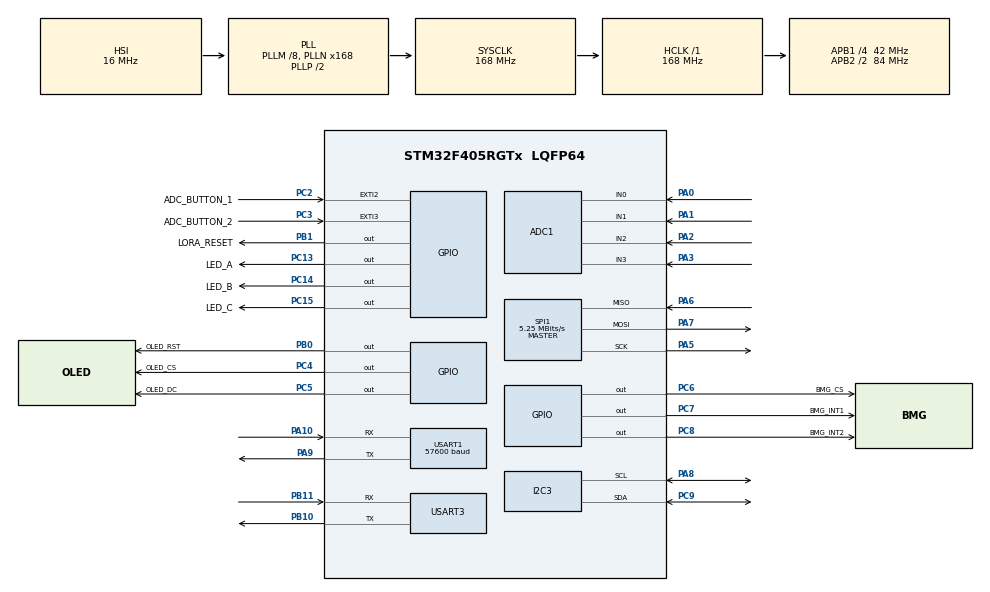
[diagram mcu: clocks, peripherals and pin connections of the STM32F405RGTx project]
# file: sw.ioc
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ADC1.Channel-0\#ChannelRegularConversion=ADC_CHANNEL_0
ADC1.Channel-1\#ChannelRegularConversion=ADC_CHANNEL_1
ADC1.Channel-2\#ChannelRegularConversion=ADC_CHANNEL_2
ADC1.Channel-3\#ChannelRegularConversion=ADC_CHANNEL_3
ADC1.ContinuousConvMode=ENABLE
ADC1.DMAContinuousRequests=ENABLE
ADC1.NbrOfConversion=4
ADC1.NbrOfConversionFlag=1
ADC1.Rank-0\#ChannelRegularConversion=1
ADC1.Rank-1\#ChannelRegularConversion=2
ADC1.Rank-2\#ChannelRegularConversion=3
ADC1.Rank-3\#ChannelRegularConversion=4
ADC1.SamplingTime-0\#ChannelRegularConversion=ADC_SAMPLETIME_56CYCLES
ADC1.SamplingTime-1\#ChannelRegularConversion=ADC_SAMPLETIME_56CYCLES
ADC1.SamplingTime-2\#ChannelRegularConversion=ADC_SAMPLETIME_56CYCLES
ADC1.SamplingTime-3\#ChannelRegularConversion=ADC_SAMPLETIME_56CYCLES
ADC1.ScanConvMode=ENABLE
ADC1.master=1
Dma.ADC1.0.Direction=DMA_PERIPH_TO_MEMORY
Dma.ADC1.0.FIFOMode=DMA_FIFOMODE_DISABLE
Dma.ADC1.0.Instance=DMA2_Stream0
Dma.ADC1.0.MemDataAlignment=DMA_MDATAALIGN_WORD
Dma.ADC1.0.MemInc=DMA_MINC_ENABLE
Dma.ADC1.0.Mode=DMA_CIRCULAR
Dma.ADC1.0.PeriphDataAlignment=DMA_PDATAALIGN_WORD
Dma.ADC1.0.PeriphInc=DMA_PINC_DISABLE
Dma.ADC1.0.Priority=DMA_PRIORITY_LOW
Dma.Request0=ADC1
Mcu.Family=STM32F4
Mcu.Name=STM32F405RGTx
Mcu.Package=LQFP64
NVIC.DMA2_Stream0_IRQn=true\:4\:0\:true\:true\:true\:2\:false\:true
NVIC.EXTI2_IRQn=true\:4\:0\:true\:false\:true\:true\:true
NVIC.EXTI3_IRQn=true\:4\:0\:true\:false\:true\:true\:true
NVIC.PriorityGroup=NVIC_PRIORITYGROUP_4
NVIC.TIM6_DAC_IRQn=true\:3\:0\:true\:true\:true\:4\:true\:true
NVIC.USART1_IRQn=true\:1\:0\:true\:true\:true\:1\:true\:true
NVIC.USART3_IRQn=true\:2\:0\:true\:true\:true\:3\:true\:true
PA0-WKUP.Signal=ADCx_IN0
PA1.Signal=ADCx_IN1
PA10.Mode=Asynchronous
PA10.Signal=USART1_RX
PA13.Mode=Serial_Wire
PA13.Signal=SYS_JTMS-SWDIO
PA14.Mode=Serial_Wire
PA14.Signal=SYS_JTCK-SWCLK
PA2.Signal=ADCx_IN2
PA3.Signal=ADCx_IN3
PA5.Mode=Full_Duplex_Master
PA5.Signal=SPI1_SCK
PA6.Mode=Full_Duplex_Master
PA6.Signal=SPI1_MISO
PA7.Mode=Full_Duplex_Master
PA7.Signal=SPI1_MOSI
PA8.Mode=I2C
PA8.Signal=I2C3_SCL
PA9.Mode=Asynchronous
PA9.Signal=USART1_TX
PB0.GPIO_Label=OLED_RST
PB0.GPIO_Speed=GPIO_SPEED_FREQ_MEDIUM
PB0.PinState=GPIO_PIN_SET
PB0.Signal=GPIO_Output
PB1.GPIO_Label=LORA_RESET
PB1.GPIO_ModeDefaultOutputPP=GPIO_MODE_OUTPUT_OD
PB1.Signal=GPIO_Output
PB10.Mode=Asynchronous
PB10.Signal=USART3_TX
PB11.Mode=Asynchronous
PB11.Signal=USART3_RX
PC13-ANTI_TAMP.GPIO_Label=LED_A
PC13-ANTI_TAMP.Signal=GPIO_Output
PC14-OSC32_IN.GPIO_Label=LED_B
PC14-OSC32_IN.Signal=GPIO_Output
PC15-OSC32_OUT.GPIO_Label=LED_C
PC15-OSC32_OUT.Signal=GPIO_Output
PC2.GPIO_Label=ADC_BUTTON_1
PC2.GPIO_ModeDefaultEXTI=GPIO_MODE_IT_FALLING
PC2.Signal=GPXTI2
PC3.GPIO_Label=ADC_BUTTON_2
PC3.GPIO_ModeDefaultEXTI=GPIO_MODE_IT_FALLING
PC3.Signal=GPXTI3
PC4.GPIO_Label=OLED_CS
PC4.GPIO_Speed=GPIO_SPEED_FREQ_MEDIUM
PC4.PinState=GPIO_PIN_SET
PC4.Signal=GPIO_Output
PC5.GPIO_Label=OLED_DC
PC5.GPIO_Speed=GPIO_SPEED_FREQ_MEDIUM
PC5.PinState=GPIO_PIN_SET
PC5.Signal=GPIO_Output
PC6.GPIO_Label=BMG_CS
PC6.GPIO_ModeDefaultOutputPP=GPIO_MODE_OUTPUT_PP
PC6.GPIO_PuPd=GPIO_NOPULL
PC6.PinState=GPIO_PIN_RESET
PC6.Signal=GPIO_Output
PC7.GPIO_Label=BMG_INT1
PC7.Signal=GPIO_Output
PC8.GPIO_Label=BMG_INT2
PC8.Signal=GPIO_Output
PC9.Mode=I2C
PC9.Signal=I2C3_SDA
ProjectManager.HeapSize=0x200
ProjectManager.StackSize=0x400
ProjectManager.TargetToolchain=SW4STM32
RCC.48MHZClocksFreq_Value=84000000
RCC.AHBFreq_Value=168000000
RCC.APB1CLKDivider=RCC_HCLK_DIV4
RCC.APB1Freq_Value=42000000
RCC.APB1TimFreq_Value=84000000
RCC.APB2CLKDivider=RCC_HCLK_DIV2
RCC.APB2Freq_Value=84000000
RCC.APB2TimFreq_Value=168000000
RCC.CortexFreq_Value=168000000
RCC.HCLKFreq_Value=168000000
RCC.HSE_VALUE=25000000
RCC.HSI_VALUE=16000000
RCC.LSE_VALUE=32768
RCC.PLLM=8
RCC.PLLN=168
RCC.SYSCLKFreq_VALUE=168000000
RCC.SYSCLKSource=RCC_SYSCLKSOURCE_PLLCLK
RCC.VCOOutputFreq_Value=336000000
SH.ADCx_IN0.0=ADC1_IN0,IN0
SH.ADCx_IN1.0=ADC1_IN1,IN1
SH.ADCx_IN2.0=ADC1_IN2,IN2
SH.ADCx_IN3.0=ADC1_IN3,IN3
SPI1.BaudRatePrescaler=SPI_BAUDRATEPRESCALER_16
SPI1.CalculateBaudRate=5.25 MBits/s
SPI1.Direction=SPI_DIRECTION_2LINES
SPI1.Mode=SPI_MODE_MASTER
SPI1.VirtualType=VM_MASTER
TIM6.AutoReloadPreload=TIM_AUTORELOAD_PRELOAD_ENABLE
TIM6.Period=4200
TIM6.Prescaler=10000
USART1.BaudRate=57600
USART1.VirtualMode=VM_ASYNC
USART3.VirtualMode=VM_ASYNC
VP_TIM6_VS_ClockSourceINT.Mode=Enable_Timer
board=custom

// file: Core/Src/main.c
/* USER CODE BEGIN Header */
/**
  ******************************************************************************
  * @file           : main.c
  * @brief          : Main program body
  ******************************************************************************
  * @attention
  *
  * <h2><center>&copy; Copyright (c) 2021 STMicroelectronics.
  * All rights reserved.</center></h2>
  *
  * This software component is licensed by ST under BSD 3-Clause license,
  * the "License"; You may not use this file except in compliance with the
  * License. You may obtain a copy of the License at:
  *                        opensource.org/licenses/BSD-3-Clause
  *
  ******************************************************************************
  */
/* USER CODE END Header */
#include "main.h"

/* USER CODE BEGIN Includes */
#include "COM.h"
#include "CMDHandler.h"
#include "lora.h"
#include "ssd1351.h"
#include "gfx.h"
#include "screen.h"
#include "joystick.h"
/* USER CODE END Includes */

/* USER CODE BEGIN PD */
extern Colors colors;

/* USER CODE END PD */

ADC_HandleTypeDef hadc1;
DMA_HandleTypeDef hdma_adc1;

I2C_HandleTypeDef hi2c3;

SPI_HandleTypeDef hspi1;

TIM_HandleTypeDef htim6;

UART_HandleTypeDef huart1;
UART_HandleTypeDef huart3;

/* USER CODE BEGIN PV */
char rx_lora_buff[1];
char rx_com_buff[1];
uint32_t ADCvalues[4];

char s_buf[50];

//extern Colors colors;
/* USER CODE END PV */

void SystemClock_Config(void);
static void MX_GPIO_Init(void);
static void MX_DMA_Init(void);
static void MX_ADC1_Init(void);
static void MX_SPI1_Init(void);
static void MX_USART1_UART_Init(void);
static void MX_USART3_UART_Init(void);
static void MX_I2C3_Init(void);
static void MX_TIM6_Init(void);
static void MX_NVIC_Init(void);
/* USER CODE BEGIN PFP */
void pin_cs(uint8_t pinstate);
void pin_dc(uint8_t pinstate);
void pin_rs(uint8_t pinstate);
void transmit_data(uint8_t *data, uint32_t len);
void user_delay_ms(uint32_t period);

/* USER CODE END PFP */

int main(void)
{

  /* MCU Configuration--------------------------------------------------------*/

  /* Reset of all peripherals, Initializes the Flash interface and the Systick. */
  HAL_Init();

  /* Configure the system clock */
  SystemClock_Config();

  /* Initialize all configured peripherals */
  MX_GPIO_Init();
  MX_DMA_Init();
  MX_ADC1_Init();
  MX_SPI1_Init();
  MX_USART1_UART_Init();
  MX_USART3_UART_Init();
  MX_I2C3_Init();
  MX_TIM6_Init();

  /* Initialize interrupts */
  MX_NVIC_Init();
  /* USER CODE BEGIN 2 */
  //SCREEN
  s_ssd1351 fnptrs_main;

  	fnptrs_main.pin_cs = pin_cs;
  	fnptrs_main.pin_rs = pin_rs;
  	fnptrs_main.pin_dc = pin_dc;
  	fnptrs_main.transmit_data = transmit_data;
  	fnptrs_main.delay = user_delay_ms;

  //INTERRUPTS
  HAL_UART_Receive_IT(&huart1,(uint8_t*)rx_lora_buff,1);
  HAL_UART_Receive_IT(&huart3,(uint8_t*)rx_com_buff,1);
  HAL_ADC_Start_DMA(&hadc1,(uint32_t *)ADCvalues, 4);
  //HAL_ADC_Start(&hadc1);

  //Turn "Running" LED on
  HAL_GPIO_WritePin(LED_A_GPIO_Port,LED_A_Pin,GPIO_PIN_SET);

  //Display Init
  init_oled(1,1, &fnptrs_main);
  screen_connecting();

  //LORA Reset
  HAL_GPIO_WritePin(LORA_RESET_GPIO_Port,LORA_RESET_Pin,GPIO_PIN_SET);
  HAL_Delay(10);
  HAL_GPIO_WritePin(LORA_RESET_GPIO_Port,LORA_RESET_Pin,GPIO_PIN_RESET);
  HAL_Delay(10);
  HAL_GPIO_WritePin(LORA_RESET_GPIO_Port,LORA_RESET_Pin,GPIO_PIN_SET);
  HAL_Delay(1000);

  //Init LORA
  if(!lora_init())
  {
	//if failed turn LED_B on
	HAL_GPIO_WritePin(LED_C_GPIO_Port,LED_C_Pin,GPIO_PIN_SET);
	while(1);
  }

  HAL_Delay(200);
  //SET "running" LED on RN2483 on
  LORA_TX("sys set pindig GPIO11 1\r\n");

  HAL_Delay(100);

  screen_init();

  //LORA_TX("radio set wdt 0\r\n");
  //HAL_Delay(100);
  while(joystick_PosCheck(0,-65,2) || joystick_PosCheck(1,65,1) || joystick_PosCheck(2,-95,2))
  {
	  Joystick(ADCvalues, 0);
  }

  //screen_connecting();
  screen_menu(0,0);

  while(joystick_PosCheck(0,0,0) || joystick_PosCheck(1,0,0) || joystick_PosCheck(2,0,0) || joystick_PosCheck(3,0,0))
  {
	  Joystick(ADCvalues, 0);
  }

  HAL_TIM_Base_Start_IT(&htim6);

  /* USER CODE END 2 */

  /* Infinite loop */
  /* USER CODE BEGIN WHILE */
  while (1)
  {
	  //COM Command Handler, a can be ignored

	  LORA_HANDLER(0,"a");
	  //lora_OFF();
	  Joystick(ADCvalues, 1);
	  HAL_Delay(500);
	  //HAL_Delay(100);
    /* USER CODE END WHILE */

  }
}

void SystemClock_Config(void)
{
  RCC_OscInitTypeDef RCC_OscInitStruct = {0};
  RCC_ClkInitTypeDef RCC_ClkInitStruct = {0};

  /** Configure the main internal regulator output voltage
  */
  __HAL_RCC_PWR_CLK_ENABLE();
  __HAL_PWR_VOLTAGESCALING_CONFIG(PWR_REGULATOR_VOLTAGE_SCALE1);
  /** Initializes the RCC Oscillators according to the specified parameters
  * in the RCC_OscInitTypeDef structure.
  */
  RCC_OscInitStruct.OscillatorType = RCC_OSCILLATORTYPE_HSI;
  RCC_OscInitStruct.HSIState = RCC_HSI_ON;
  RCC_OscInitStruct.HSICalibrationValue = RCC_HSICALIBRATION_DEFAULT;
  RCC_OscInitStruct.PLL.PLLState = RCC_PLL_ON;
  RCC_OscInitStruct.PLL.PLLSource = RCC_PLLSOURCE_HSI;
  RCC_OscInitStruct.PLL.PLLM = 8;
  RCC_OscInitStruct.PLL.PLLN = 168;
  RCC_OscInitStruct.PLL.PLLP = RCC_PLLP_DIV2;
  RCC_OscInitStruct.PLL.PLLQ = 4;
  if (HAL_RCC_OscConfig(&RCC_OscInitStruct) != HAL_OK)
  {
    Error_Handler();
  }
  /** Initializes the CPU, AHB and APB buses clocks
  */
  RCC_ClkInitStruct.ClockType = RCC_CLOCKTYPE_HCLK|RCC_CLOCKTYPE_SYSCLK
                              |RCC_CLOCKTYPE_PCLK1|RCC_CLOCKTYPE_PCLK2;
  RCC_ClkInitStruct.SYSCLKSource = RCC_SYSCLKSOURCE_PLLCLK;
  RCC_ClkInitStruct.AHBCLKDivider = RCC_SYSCLK_DIV1;
  RCC_ClkInitStruct.APB1CLKDivider = RCC_HCLK_DIV4;
  RCC_ClkInitStruct.APB2CLKDivider = RCC_HCLK_DIV2;

  if (HAL_RCC_ClockConfig(&RCC_ClkInitStruct, FLASH_LATENCY_5) != HAL_OK)
  {
    Error_Handler();
  }
}

/**
  * @brief NVIC Configuration.
  * @retval None
  */
static void MX_NVIC_Init(void)
{
  /* USART1_IRQn interrupt configuration */
  HAL_NVIC_SetPriority(USART1_IRQn, 1, 0);
  HAL_NVIC_EnableIRQ(USART1_IRQn);
  /* DMA2_Stream0_IRQn interrupt configuration */
  HAL_NVIC_SetPriority(DMA2_Stream0_IRQn, 4, 0);
  HAL_NVIC_EnableIRQ(DMA2_Stream0_IRQn);
  /* USART3_IRQn interrupt configuration */
  HAL_NVIC_SetPriority(USART3_IRQn, 2, 0);
  HAL_NVIC_EnableIRQ(USART3_IRQn);
  /* TIM6_DAC_IRQn interrupt configuration */
  HAL_NVIC_SetPriority(TIM6_DAC_IRQn, 3, 0);
  HAL_NVIC_EnableIRQ(TIM6_DAC_IRQn);
}

static void MX_ADC1_Init(void)
{

  ADC_ChannelConfTypeDef sConfig = {0};

  /** Configure the global features of the ADC (Clock, Resolution, Data Alignment and number of conversion)
  */
  hadc1.Instance = ADC1;
  hadc1.Init.ClockPrescaler = ADC_CLOCK_SYNC_PCLK_DIV4;
  hadc1.Init.Resolution = ADC_RESOLUTION_12B;
  hadc1.Init.ScanConvMode = ENABLE;
  hadc1.Init.ContinuousConvMode = ENABLE;
  hadc1.Init.DiscontinuousConvMode = DISABLE;
  hadc1.Init.ExternalTrigConvEdge = ADC_EXTERNALTRIGCONVEDGE_NONE;
  hadc1.Init.ExternalTrigConv = ADC_SOFTWARE_START;
  hadc1.Init.DataAlign = ADC_DATAALIGN_RIGHT;
  hadc1.Init.NbrOfConversion = 4;
  hadc1.Init.DMAContinuousRequests = ENABLE;
  hadc1.Init.EOCSelection = ADC_EOC_SINGLE_CONV;
  if (HAL_ADC_Init(&hadc1) != HAL_OK)
  {
    Error_Handler();
  }
  /** Configure for the selected ADC regular channel its corresponding rank in the sequencer and its sample time.
  */
  sConfig.Channel = ADC_CHANNEL_0;
  sConfig.Rank = 1;
  sConfig.SamplingTime = ADC_SAMPLETIME_56CYCLES;
  if (HAL_ADC_ConfigChannel(&hadc1, &sConfig) != HAL_OK)
  {
    Error_Handler();
  }
  /** Configure for the selected ADC regular channel its corresponding rank in the sequencer and its sample time.
  */
  sConfig.Channel = ADC_CHANNEL_1;
  sConfig.Rank = 2;
  if (HAL_ADC_ConfigChannel(&hadc1, &sConfig) != HAL_OK)
  {
    Error_Handler();
  }
  /** Configure for the selected ADC regular channel its corresponding rank in the sequencer and its sample time.
  */
  sConfig.Channel = ADC_CHANNEL_2;
  sConfig.Rank = 3;
  if (HAL_ADC_ConfigChannel(&hadc1, &sConfig) != HAL_OK)
  {
    Error_Handler();
  }
  /** Configure for the selected ADC regular channel its corresponding rank in the sequencer and its sample time.
  */
  sConfig.Channel = ADC_CHANNEL_3;
  sConfig.Rank = 4;
  if (HAL_ADC_ConfigChannel(&hadc1, &sConfig) != HAL_OK)
  {
    Error_Handler();
  }

}

static void MX_I2C3_Init(void)
{

  hi2c3.Instance = I2C3;
  hi2c3.Init.ClockSpeed = 100000;
  hi2c3.Init.DutyCycle = I2C_DUTYCYCLE_2;
  hi2c3.Init.OwnAddress1 = 0;
  hi2c3.Init.AddressingMode = I2C_ADDRESSINGMODE_7BIT;
  hi2c3.Init.DualAddressMode = I2C_DUALADDRESS_DISABLE;
  hi2c3.Init.OwnAddress2 = 0;
  hi2c3.Init.GeneralCallMode = I2C_GENERALCALL_DISABLE;
  hi2c3.Init.NoStretchMode = I2C_NOSTRETCH_DISABLE;
  if (HAL_I2C_Init(&hi2c3) != HAL_OK)
  {
    Error_Handler();
  }

}

static void MX_SPI1_Init(void)
{

  /* SPI1 parameter configuration*/
  hspi1.Instance = SPI1;
  hspi1.Init.Mode = SPI_MODE_MASTER;
  hspi1.Init.Direction = SPI_DIRECTION_2LINES;
  hspi1.Init.DataSize = SPI_DATASIZE_8BIT;
  hspi1.Init.CLKPolarity = SPI_POLARITY_LOW;
  hspi1.Init.CLKPhase = SPI_PHASE_1EDGE;
  hspi1.Init.NSS = SPI_NSS_SOFT;
  hspi1.Init.BaudRatePrescaler = SPI_BAUDRATEPRESCALER_16;
  hspi1.Init.FirstBit = SPI_FIRSTBIT_MSB;
  hspi1.Init.TIMode = SPI_TIMODE_DISABLE;
  hspi1.Init.CRCCalculation = SPI_CRCCALCULATION_DISABLE;
  hspi1.Init.CRCPolynomial = 10;
  if (HAL_SPI_Init(&hspi1) != HAL_OK)
  {
    Error_Handler();
  }

}

static void MX_TIM6_Init(void)
{

  TIM_MasterConfigTypeDef sMasterConfig = {0};

  htim6.Instance = TIM6;
  htim6.Init.Prescaler = 10000;
  htim6.Init.CounterMode = TIM_COUNTERMODE_UP;
  htim6.Init.Period = 4200;
  htim6.Init.AutoReloadPreload = TIM_AUTORELOAD_PRELOAD_ENABLE;
  if (HAL_TIM_Base_Init(&htim6) != HAL_OK)
  {
    Error_Handler();
  }
  sMasterConfig.MasterOutputTrigger = TIM_TRGO_RESET;
  sMasterConfig.MasterSlaveMode = TIM_MASTERSLAVEMODE_DISABLE;
  if (HAL_TIMEx_MasterConfigSynchronization(&htim6, &sMasterConfig) != HAL_OK)
  {
    Error_Handler();
  }

}

static void MX_USART1_UART_Init(void)
{

  huart1.Instance = USART1;
  huart1.Init.BaudRate = 57600;
  huart1.Init.WordLength = UART_WORDLENGTH_8B;
  huart1.Init.StopBits = UART_STOPBITS_1;
  huart1.Init.Parity = UART_PARITY_NONE;
  huart1.Init.Mode = UART_MODE_TX_RX;
  huart1.Init.HwFlowCtl = UART_HWCONTROL_NONE;
  huart1.Init.OverSampling = UART_OVERSAMPLING_16;
  if (HAL_UART_Init(&huart1) != HAL_OK)
  {
    Error_Handler();
  }

}

static void MX_USART3_UART_Init(void)
{

  huart3.Instance = USART3;
  huart3.Init.BaudRate = 115200;
  huart3.Init.WordLength = UART_WORDLENGTH_8B;
  huart3.Init.StopBits = UART_STOPBITS_1;
  huart3.Init.Parity = UART_PARITY_NONE;
  huart3.Init.Mode = UART_MODE_TX_RX;
  huart3.Init.HwFlowCtl = UART_HWCONTROL_NONE;
  huart3.Init.OverSampling = UART_OVERSAMPLING_16;
  if (HAL_UART_Init(&huart3) != HAL_OK)
  {
    Error_Handler();
  }

}

static void MX_DMA_Init(void)
{

  /* DMA controller clock enable */
  __HAL_RCC_DMA2_CLK_ENABLE();

}

static void MX_GPIO_Init(void)
{
  GPIO_InitTypeDef GPIO_InitStruct = {0};

  /* GPIO Ports Clock Enable */
  __HAL_RCC_GPIOC_CLK_ENABLE();
  __HAL_RCC_GPIOA_CLK_ENABLE();
  __HAL_RCC_GPIOB_CLK_ENABLE();

  /*Configure GPIO pin Output Level */
  HAL_GPIO_WritePin(GPIOC, LED_A_Pin|LED_B_Pin|LED_C_Pin|BMG_CS_Pin
                          |BMG_INT1_Pin|BMG_INT2_Pin, GPIO_PIN_RESET);

  /*Configure GPIO pin Output Level */
  HAL_GPIO_WritePin(GPIOC, OLED_CS_Pin|OLED_DC_Pin, GPIO_PIN_SET);

  /*Configure GPIO pin Output Level */
  HAL_GPIO_WritePin(OLED_RST_GPIO_Port, OLED_RST_Pin, GPIO_PIN_SET);

  /*Configure GPIO pin Output Level */
  HAL_GPIO_WritePin(LORA_RESET_GPIO_Port, LORA_RESET_Pin, GPIO_PIN_RESET);

  /*Configure GPIO pins : LED_A_Pin LED_B_Pin LED_C_Pin BMG_CS_Pin
                           BMG_INT1_Pin BMG_INT2_Pin */
  GPIO_InitStruct.Pin = LED_A_Pin|LED_B_Pin|LED_C_Pin|BMG_CS_Pin
                          |BMG_INT1_Pin|BMG_INT2_Pin;
  GPIO_InitStruct.Mode = GPIO_MODE_OUTPUT_PP;
  GPIO_InitStruct.Pull = GPIO_NOPULL;
  GPIO_InitStruct.Speed = GPIO_SPEED_FREQ_LOW;
  HAL_GPIO_Init(GPIOC, &GPIO_InitStruct);

  /*Configure GPIO pins : ADC_BUTTON_1_Pin ADC_BUTTON_2_Pin */
  GPIO_InitStruct.Pin = ADC_BUTTON_1_Pin|ADC_BUTTON_2_Pin;
  GPIO_InitStruct.Mode = GPIO_MODE_IT_FALLING;
  GPIO_InitStruct.Pull = GPIO_NOPULL;
  HAL_GPIO_Init(GPIOC, &GPIO_InitStruct);

  /*Configure GPIO pins : OLED_CS_Pin OLED_DC_Pin */
  GPIO_InitStruct.Pin = OLED_CS_Pin|OLED_DC_Pin;
  GPIO_InitStruct.Mode = GPIO_MODE_OUTPUT_PP;
  GPIO_InitStruct.Pull = GPIO_NOPULL;
  GPIO_InitStruct.Speed = GPIO_SPEED_FREQ_MEDIUM;
  HAL_GPIO_Init(GPIOC, &GPIO_InitStruct);

  /*Configure GPIO pin : OLED_RST_Pin */
  GPIO_InitStruct.Pin = OLED_RST_Pin;
  GPIO_InitStruct.Mode = GPIO_MODE_OUTPUT_PP;
  GPIO_InitStruct.Pull = GPIO_NOPULL;
  GPIO_InitStruct.Speed = GPIO_SPEED_FREQ_MEDIUM;
  HAL_GPIO_Init(OLED_RST_GPIO_Port, &GPIO_InitStruct);

  /*Configure GPIO pin : LORA_RESET_Pin */
  GPIO_InitStruct.Pin = LORA_RESET_Pin;
  GPIO_InitStruct.Mode = GPIO_MODE_OUTPUT_OD;
  GPIO_InitStruct.Pull = GPIO_NOPULL;
  GPIO_InitStruct.Speed = GPIO_SPEED_FREQ_LOW;
  HAL_GPIO_Init(LORA_RESET_GPIO_Port, &GPIO_InitStruct);

  /* EXTI interrupt init*/
  HAL_NVIC_SetPriority(EXTI2_IRQn, 4, 0);
  HAL_NVIC_EnableIRQ(EXTI2_IRQn);

  HAL_NVIC_SetPriority(EXTI3_IRQn, 4, 0);
  HAL_NVIC_EnableIRQ(EXTI3_IRQn);

}

/* USER CODE BEGIN 4 */

void HAL_GPIO_EXTI_Callback(uint16_t GPIO_Pin)
{
	static char button1 = 0, button2 = 0;

	//falling edge
	//left js button
	if(GPIO_Pin == ADC_BUTTON_1_Pin)
	{
		if(!HAL_GPIO_ReadPin(ADC_BUTTON_1_GPIO_Port, ADC_BUTTON_1_Pin))
		{
			button1 ^= 1;
		}
		screen_menu(button1, button2);
		HAL_Delay(100);
	}
	//falling edge
	//right js button
	else if(GPIO_Pin == ADC_BUTTON_2_Pin)
	{
		if(!HAL_GPIO_ReadPin(ADC_BUTTON_2_GPIO_Port, ADC_BUTTON_2_Pin))
		{
			button2 ^= 1;
		}
		screen_menu(button1, button2);
		HAL_Delay(100);
	}
}

void HAL_UART_RxCpltCallback(UART_HandleTypeDef *huart)
{
	if(huart->Instance==USART3)				//COM
	{
		//CH_BUFFER(rx_com_buff);
		//HAL_GPIO_TogglePin(LED_C_GPIO_Port,LED_C_Pin);
		HAL_UART_Receive_IT(&huart3,(uint8_t*)rx_com_buff,1);
		CH_BUFFER(rx_com_buff);
		//HAL_UART_Transmit(&huart3, (uint8_t *)rx_com_buff, strlen(rx_com_buff), 100);
	}
	if(huart->Instance==USART1)				//LORA
	{
		//LORA_BUFFER(rx_lora_buff);
		//HAL_GPIO_TogglePin(LED_C_GPIO_Port,LED_C_Pin);
		HAL_UART_Receive_IT(&huart1,(uint8_t*)rx_lora_buff,1);
		//COM_TX(rx_lora_buff);
		LORA_BUFFER(rx_lora_buff);
	}

	//singleChar = alpha[0];
	//CH_BUFFER(&singleChar);
}

void HAL_ADC_ConvCpltCallback( ADC_HandleTypeDef * hadc)
{
	//1
		//[0] = left left/right (l=4100,r=0,m=2100)
		//[1] = left up/down (d=0,u=4100,m=2060)
		//[2] = right left/right (l=0,r=4100,m=2060)
		//[3] = right up/down (d=4100,u=0,m=2000)
	//2
		//[0] = left left/right (l=4100,r=0,m=2040)
		//[1] = left up/down (d=0,u=4100,m=2040)
		//[2] = right left/right (l=0,r=4100,m=2015)
		//[3] = right up/down (d=4100,u=0,m=2000)

		/*sprintf(s_buf,"%i",ADCvalues[3]);
		COM_TX(s_buf);
		COM_TX("\r\n");*/
		//Joystick(ADCvalues);
		//COM_TX("New Values \r\n");
		HAL_ADC_Start_DMA(&hadc1,ADCvalues, 4);
		//HAL_ADC_Start(&hadc1);

}

void HAL_TIM_PeriodElapsedCallback(TIM_HandleTypeDef* htim)
{
	//COM_TX("int\r\n");
	//lora_OD();
	lora_DTS(0,0);

}

void pin_cs(uint8_t pinstate)
{
	HAL_GPIO_WritePin(OLED_CS_GPIO_Port, OLED_CS_Pin, pinstate);
}

void pin_dc(uint8_t pinstate)
{
	HAL_GPIO_WritePin(OLED_DC_GPIO_Port, OLED_DC_Pin, pinstate);
}

void pin_rs(uint8_t pinstate)
{
	HAL_GPIO_WritePin(OLED_RST_GPIO_Port, OLED_RST_Pin, pinstate);
}

void transmit_data(uint8_t *data, uint32_t len)
{
	HAL_SPI_Transmit(&hspi1, data, len, 1000);
}
void user_delay_ms(uint32_t period)
{
	HAL_Delay(period);
}

/* USER CODE END 4 */

void Error_Handler(void)
{
}

/************************ (C) COPYRIGHT STMicroelectronics *****END OF FILE****/
